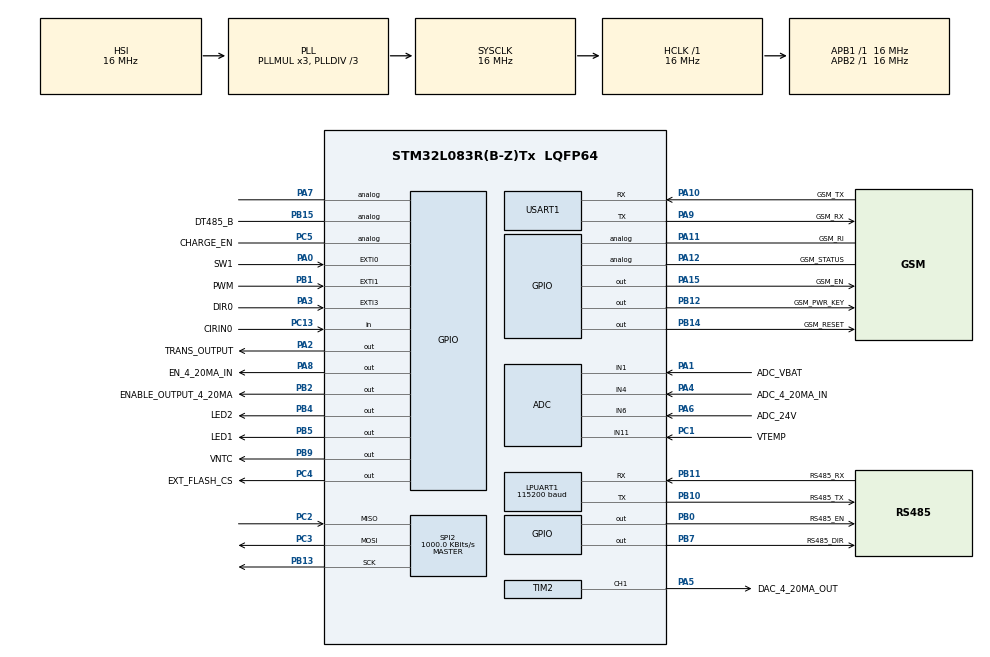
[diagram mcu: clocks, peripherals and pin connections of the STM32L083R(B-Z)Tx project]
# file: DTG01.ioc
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ADC.ClockPrescaler=ADC_CLOCK_ASYNC_DIV10
ADC.EOCSelection=ADC_EOC_SINGLE_CONV
ADC.LowPowerAutoPowerOff=DISABLE
ADC.LowPowerFrequencyMode=ENABLE
ADC.SamplingTime=ADC_SAMPLETIME_160CYCLES_5
Dma.Request0=USART1_RX
Dma.Request1=USART1_TX
Dma.USART1_RX.0.Direction=DMA_PERIPH_TO_MEMORY
Dma.USART1_RX.0.Instance=DMA1_Channel3
Dma.USART1_RX.0.MemDataAlignment=DMA_MDATAALIGN_BYTE
Dma.USART1_RX.0.MemInc=DMA_MINC_ENABLE
Dma.USART1_RX.0.Mode=DMA_CIRCULAR
Dma.USART1_RX.0.PeriphDataAlignment=DMA_PDATAALIGN_BYTE
Dma.USART1_RX.0.PeriphInc=DMA_PINC_DISABLE
Dma.USART1_RX.0.Priority=DMA_PRIORITY_HIGH
Dma.USART1_TX.1.Direction=DMA_MEMORY_TO_PERIPH
Dma.USART1_TX.1.Instance=DMA1_Channel2
Dma.USART1_TX.1.MemDataAlignment=DMA_MDATAALIGN_BYTE
Dma.USART1_TX.1.MemInc=DMA_MINC_ENABLE
Dma.USART1_TX.1.Mode=DMA_NORMAL
Dma.USART1_TX.1.PeriphDataAlignment=DMA_PDATAALIGN_BYTE
Dma.USART1_TX.1.PeriphInc=DMA_PINC_DISABLE
Dma.USART1_TX.1.Priority=DMA_PRIORITY_HIGH
IWDG.Prescaler=IWDG_PRESCALER_256
LPUART1.BaudRate=115200
LPUART1.WordLength=UART_WORDLENGTH_8B
Mcu.Family=STM32L0
Mcu.Name=STM32L083R(B-Z)Tx
Mcu.Package=LQFP64
NVIC.AES_RNG_LPUART1_IRQn=true\:0\:0\:false\:false\:true\:true\:true
NVIC.DMA1_Channel2_3_IRQn=true\:0\:0\:false\:false\:true\:false\:true
NVIC.EXTI0_1_IRQn=true\:0\:0\:false\:false\:true\:true\:true
NVIC.EXTI2_3_IRQn=true\:0\:0\:false\:false\:true\:true\:true
NVIC.RTC_IRQn=true\:0\:0\:false\:false\:true\:true\:true
NVIC.SPI2_IRQn=true\:0\:0\:false\:false\:true\:true\:true
NVIC.USART1_IRQn=true\:0\:0\:false\:false\:true\:true\:true
PA0.GPIO_Label=SW1
PA0.Signal=GPXTI0
PA1.GPIO_Label=ADC_VBAT
PA1.Mode=IN1
PA1.Signal=ADC_IN1
PA10.GPIO_Label=GSM_TX
PA10.Mode=Asynchronous
PA10.Signal=USART1_RX
PA11.GPIO_Label=GSM_RI
PA11.Signal=GPIO_Analog
PA12.GPIO_Label=GSM_STATUS
PA12.Signal=GPIO_Analog
PA13.Mode=Serial_Wire
PA13.Signal=SYS_SWDIO
PA14.Mode=Serial_Wire
PA14.Signal=SYS_SWCLK
PA15.GPIO_Label=GSM_EN
PA15.Signal=GPIO_Output
PA2.GPIO_Label=TRANS_OUTPUT
PA2.Signal=GPIO_Output
PA3.GPIO_Label=DIR0
PA3.GPIO_ModeDefaultEXTI=GPIO_MODE_IT_FALLING
PA3.GPIO_PuPd=GPIO_NOPULL
PA3.Signal=GPXTI3
PA4.GPIO_Label=ADC_4_20MA_IN
PA4.Signal=SharedAnalog_PA4
PA5.GPIO_Label=DAC_4_20MA_OUT
PA5.Signal=S_TIM2_CH1
PA6.GPIO_Label=ADC_24V
PA6.Signal=SharedAnalog_PA6
PA7.Signal=GPIO_Analog
PA8.GPIO_Label=EN_4_20MA_IN
PA8.PinState=GPIO_PIN_SET
PA8.Signal=GPIO_Output
PA9.GPIO_Label=GSM_RX
PA9.Mode=Asynchronous
PA9.Signal=USART1_TX
PB0.GPIO_Label=RS485_EN
PB0.Signal=GPIO_Output
PB1.GPIO_Label=PWM
PB1.GPIO_ModeDefaultEXTI=GPIO_MODE_IT_FALLING
PB1.Signal=GPXTI1
PB10.GPIO_Label=RS485_TX
PB10.Mode=Asynchronous
PB10.Signal=LPUART1_TX
PB11.GPIO_Label=RS485_RX
PB11.Mode=Asynchronous
PB11.Signal=LPUART1_RX
PB12.GPIO_Label=GSM_PWR_KEY
PB12.Signal=GPIO_Output
PB13.Mode=Full_Duplex_Master
PB13.Signal=SPI2_SCK
PB14.GPIO_Label=GSM_RESET
PB14.Signal=GPIO_Output
PB15.GPIO_Label=DT485_B
PB15.Signal=GPIO_Analog
PB2.GPIO_Label=ENABLE_OUTPUT_4_20MA
PB2.Signal=GPIO_Output
PB4.GPIO_Label=LED2
PB4.Signal=GPIO_Output
PB5.GPIO_Label=LED1
PB5.Signal=GPIO_Output
PB7.GPIO_Label=RS485_DIR
PB7.Signal=GPIO_Output
PB9.GPIO_Label=VNTC
PB9.GPIO_PuPd=GPIO_PULLDOWN
PB9.Signal=GPIO_Output
PC1.GPIO_Label=VTEMP
PC1.Mode=IN11
PC1.Signal=ADC_IN11
PC13.GPIO_Label=CIRIN0
PC13.Signal=GPIO_Input
PC14-OSC32_IN.Mode=LSE-External-Oscillator
PC14-OSC32_IN.Signal=RCC_OSC32_IN
PC15-OSC32_OUT.Mode=LSE-External-Oscillator
PC15-OSC32_OUT.Signal=RCC_OSC32_OUT
PC2.Mode=Full_Duplex_Master
PC2.Signal=SPI2_MISO
PC3.Mode=Full_Duplex_Master
PC3.Signal=SPI2_MOSI
PC4.GPIO_Label=EXT_FLASH_CS
PC4.GPIO_PuPd=GPIO_NOPULL
PC4.GPIO_Speed=GPIO_SPEED_FREQ_VERY_HIGH
PC4.PinState=GPIO_PIN_SET
PC4.Signal=GPIO_Output
PC5.GPIO_Label=CHARGE_EN
PC5.Signal=GPIO_Analog
ProjectManager.HeapSize=0x200
ProjectManager.StackSize=0x400
ProjectManager.TargetToolchain=MDK-ARM V5.27
RCC.AHBFreq_Value=16000000
RCC.APB1Freq_Value=16000000
RCC.APB1TimFreq_Value=16000000
RCC.APB2Freq_Value=16000000
RCC.APB2TimFreq_Value=16000000
RCC.HCLKFreq_Value=16000000
RCC.HSE_VALUE=8000000
RCC.HSI16_VALUE=16000000
RCC.HSI48_VALUE=48000000
RCC.HSI_VALUE=16000000
RCC.LSE_Drive_Capability=RCC_LSEDRIVE_MEDIUMLOW
RCC.MSIClockRange=RCC_MSIRANGE_6
RCC.MSI_VALUE=4194000
RCC.PLLDIV=RCC_PLLDIV_3
RCC.RTCClockSelectionVirtual=RCC_RTCCLKSOURCE_LSE
RCC.SYSCLKFreq_VALUE=16000000
RCC.SYSCLKSource=RCC_SYSCLKSOURCE_PLLCLK
RCC.VCOOutputFreq_Value=48000000
RTC.SynchPrediv=255
RTC.WakeUpClock-WakeUp=RTC_WAKEUPCLOCK_RTCCLK_DIV16
RTC.WakeUpCounter-WakeUp=18
SH.S_TIM2_CH1.0=TIM2_CH1,PWM Generation1 CH1
SH.SharedAnalog_PA4.0=GPIO_Analog
SH.SharedAnalog_PA4.1=ADC_IN4,IN4
SH.SharedAnalog_PA6.0=GPIO_Analog
SH.SharedAnalog_PA6.1=ADC_IN6,IN6
SPI2.BaudRatePrescaler=SPI_BAUDRATEPRESCALER_16
SPI2.CalculateBaudRate=1000.0 KBits/s
SPI2.Direction=SPI_DIRECTION_2LINES
SPI2.Mode=SPI_MODE_MASTER
SPI2.VirtualType=VM_MASTER
TIM2.AutoReloadPreload=TIM_AUTORELOAD_PRELOAD_ENABLE
TIM2.Channel-PWM\ Generation1\ CH1=TIM_CHANNEL_1
TIM2.ClockDivision=TIM_CLOCKDIVISION_DIV1
TIM2.Period=4095
TIM2.Prescaler=1
TIM2.Pulse-PWM\ Generation1\ CH1=0
USART1.VirtualMode-Asynchronous=VM_ASYNC
VP_ADC_TempSens_Input.Mode=IN-TempSens
VP_ADC_Vref_Input.Mode=IN-Vrefint
VP_CRC_VS_CRC.Mode=CRC_Activate
VP_IWDG_VS_IWDG.Mode=IWDG_Activate
VP_RTC_VS_RTC_Activate.Mode=RTC_Enabled
VP_RTC_VS_RTC_Calendar.Mode=RTC_Calendar
VP_RTC_VS_RTC_WakeUp_intern.Mode=WakeUp
VP_TIM2_VS_ClockSourceINT.Mode=Internal
board=custom

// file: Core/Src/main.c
/* USER CODE BEGIN Header */
/**
  ******************************************************************************
  * @file           : main.c
  * @brief          : Main program body
  ******************************************************************************
  * @attention
  *
  * <h2><center>&copy; Copyright (c) 2021 STMicroelectronics.
  * All rights reserved.</center></h2>
  *
  * This software component is licensed by ST under BSD 3-Clause license,
  * the "License"; You may not use this file except in compliance with the
  * License. You may obtain a copy of the License at:
  *                        opensource.org/licenses/BSD-3-Clause
  *
  ******************************************************************************
  */
/* USER CODE END Header */
#include "main.h"
#include "adc.h"
#include "crc.h"
#include "dma.h"
#include "iwdg.h"
#include "usart.h"
#include "rtc.h"
#include "spi.h"
#include "tim.h"
#include "gpio.h"

/* USER CODE BEGIN Includes */
#include "app_eeprom.h"
#include "measure_input.h"
#include "lpf.h"
#include "stdbool.h"
#include "app_cli.h"
#include "app_wdt.h"
#include "app_sync.h"
#include "hardware_manager.h"
#include "app_bkup.h"
#include "control_output.h"
#include "gsm.h"
#include "hardware.h"
#include "modbus_master.h"
#include "string.h"
#include "sys_ctx.h"
#include "app_rtc.h"
#include "app_debug.h"
#include "app_spi_flash.h"
#include "ota_update.h"
#include "flash_if.h"
#include "version_control.h"
#include "jig.h"
#include "umm_malloc.h"

/* USER CODE END Includes */

/* USER CODE BEGIN PTD */
#define WAKEUP_RESET_WDT_IN_LOW_POWER_MODE            37000     // ( ~18s)
#define DEBUG_LOW_POWER                                 0
#define DISABLE_GPIO_ENTER_LOW_POWER_MODE               0
#define TEST_POWER_ALWAYS_TURN_OFF_GSM                  0
#define TEST_OUTPUT_4_20MA                              0
#define TEST_INPUT_4_20_MA                              0
#define TEST_RS485                                      0
#define TEST_BACKUP_REGISTER                            0
#define CLI_ENABLE                                      1
/* USER CODE END PTD */

/* USER CODE BEGIN PD */
#define GSM_ENABLE					1
/* USER CODE END PD */

void SystemClock_Config(void);

/* USER CODE BEGIN 0 */
/* memory for ummalloc */
//uint8_t g_umm_heap[UMM_MALLOC_CFG_HEAP_SIZE];
static volatile uint32_t m_delay_afer_wakeup_from_deep_sleep_to_measure_data;
static void info_task(void *arg);
volatile uint32_t led_blink_delay = 0;
void sys_config_low_power_mode(void);
volatile uint32_t m_delay_consider_wakeup = 0;
extern volatile uint32_t measure_input_turn_on_in_4_20ma_power;
/* USER CODE END 0 */

int main(void)
{
  /* USER CODE BEGIN 1 */

	hardware_manager_get_reset_reason();
  /* USER CODE END 1 */

  /* MCU Configuration--------------------------------------------------------*/

  /* Reset of all peripherals, Initializes the Flash interface and the Systick. */
  HAL_Init();

  /* Configure the system clock */
  SystemClock_Config();

  /* USER CODE BEGIN SysInit */
    __enable_irq();
#if 1
    app_eeprom_init();
	MX_CRC_Init();
	app_eeprom_config_data_t *eeprom_cfg = app_eeprom_read_config_data();
    sys_ctx_t *system = sys_ctx();
#if TEST_OUTPUT_4_20MA
	eeprom_cfg->io_enable.name.output_4_20ma_enable = 1;
    system->status.is_enter_test_mode = 1;
#endif

  /* USER CODE END SysInit */

  /* Initialize all configured peripherals */
  MX_GPIO_Init();
  MX_DMA_Init();
  MX_IWDG_Init();
  MX_RTC_Init();
  MX_ADC_Init();
  MX_USART1_UART_Init();
  MX_LPUART1_UART_Init();
  MX_SPI2_Init();
  MX_TIM2_Init();
  /* USER CODE BEGIN 2 */
#endif
//	HAL_ADC
//    __HAL_DBGMCU_FREEZE_IWDG();     // stop watchdog in debug mode
    ENABLE_INPUT_4_20MA_POWER(0);
    RS485_POWER_EN(0);
    for (uint32_t i = 0; i < 4; i++)
    {
        LED1(1);
        sys_delay_ms(20);
        LED1(0);
        sys_delay_ms(20);
    }
    LED1(0);

    system->peripheral_running.name.flash_running = 1;
    system->peripheral_running.name.rs485_running = 1;

#if CLI_ENABLE
	app_cli_start();
#endif

    app_bkup_init();
    app_eeprom_init();
    app_spi_flash_initialize();
	measure_input_initialize();
	control_ouput_init();
//	adc_start();
	gsm_init_hw();

#if USE_SYNC_DRV
	app_sync_config_t config;
	config.get_ms = sys_get_ms;
	config.polling_interval_ms = 1;
	app_sync_sytem_init(&config);

	app_sync_register_callback(task_feed_wdt, 15000, SYNC_DRV_REPEATED, SYNC_DRV_SCOPE_IN_LOOP);
	app_sync_register_callback(gsm_mnr_task, 1000, SYNC_DRV_REPEATED, SYNC_DRV_SCOPE_IN_LOOP);
	app_sync_register_callback(info_task, 1000, SYNC_DRV_REPEATED, SYNC_DRV_SCOPE_IN_LOOP);
#endif
	app_eeprom_config_data_t *cfg = app_eeprom_read_config_data();

    ota_flash_cfg_t *ota_cfg = ota_update_get_config();
#if TEST_OUTPUT_4_20MA
	cfg->io_enable.name.output_4_20ma_enable = 1;
	cfg->io_enable.name.output_4_20ma_value = 10;
	cfg->io_enable.name.output_4_20ma_timeout_100ms = 100;
	control_output_dac_enable(1000000);
    system->status.is_enter_test_mode = 1;
#endif

#if TEST_INPUT_4_20_MA
    cfg->io_enable.name.input_4_20ma_enable = 1;
    system->status.is_enter_test_mode = 1;
#endif
//	char *info = umm_malloc(128);
//	char *p = info;
//	rtc_date_time_t time;
//	app_rtc_get_time(&time);
//
//	p += sprintf(p, "[%04u/%02u/%02u %02u:%02u] ",
//					time.year + 2000,
//					time.month,
//					time.day,
//					time.hour,
//					time.minute);
//
//    DEBUG_INFO("Build %s %s, version %s\r\n", __DATE__, __TIME__, VERSION_CONTROL_FW);
//	DEBUG_INFO("Now is %s\r\n", info);
//	umm_free(info);

	jig_start();

    static uint32_t button_factory_timeout = 0;
    bool do_factory_reset = false;
  /* USER CODE END 2 */

  /* Infinite loop */
  /* USER CODE BEGIN WHILE */
  while (1)
  {
#if GSM_ENABLE
	gsm_hw_layer_run();
#endif

#if TEST_POWER_ALWAYS_TURN_OFF_GSM
    if (!gsm_data_layer_is_module_sleeping())
    {
        gsm_change_state(GSM_STATE_SLEEP);
    }
#endif
	control_ouput_task();
	measure_input_task();
	app_cli_poll();

#if USE_SYNC_DRV
	app_sync_polling_task();
#else
      static volatile uint32_t m_last_tick = 0;
      if (sys_get_ms() - m_last_tick >= (uint32_t)1000)
      {
          m_last_tick = sys_get_ms();
          gsm_mnr_task(NULL);
          info_task(NULL);
      }
#endif

	if (led_blink_delay)
	{
		LED1(1);
		LED2(1);
	}
	else
	{
		LED1(0);
		LED2(0);
	}

	if (system->status.is_enter_test_mode)
	{
		cfg->io_enable.name.output_4_20ma_enable = 1;
		eeprom_cfg->io_enable.name.output_4_20ma_enable = 1;
		if (eeprom_cfg->output_4_20ma < 1.0f)
			eeprom_cfg->output_4_20ma = 10;
		cfg->io_enable.name.output_4_20ma_timeout_100ms = 100;
		control_output_dac_enable(1000000);
		cfg->io_enable.name.rs485_en = 1;
		ENABLE_INPUT_4_20MA_POWER(1);
        RS485_POWER_EN(1);
        usart_lpusart_485_control(1);
	}

    if (!cfg->io_enable.name.rs485_en
		&& system->status.is_enter_test_mode == 0
		&& system->status.timeout_wait_message_sync_data == 0)
    {
        system->peripheral_running.name.rs485_running = 0;
        usart_lpusart_485_control(0);
    }

    if (!cfg->io_enable.name.input_4_20ma_0_enable)
    {
        ENABLE_INPUT_4_20MA_POWER(0);
        system->peripheral_running.name.wait_for_input_4_20ma_power_on = 0;
        measure_input_turn_on_in_4_20ma_power = 0;
    }

    if (gsm_data_layer_is_module_sleeping())
    {
		system->status.disconnect_timeout_s = 0;
        system->peripheral_running.name.gsm_running = 0;
        if (system->peripheral_running.name.flash_running)
        {
            app_spi_flash_shutdown();
            spi_deinit();
            system->peripheral_running.name.flash_running = 0;
        }

        usart1_control(false);
        GSM_PWR_EN(0);
        GSM_PWR_RESET(0);
        GSM_PWR_KEY(0);
    }
    else
    {
        system->peripheral_running.name.gsm_running = 1;
    }

    if (ota_update_is_running())
    {
        system->status.disconnect_timeout_s = 0;
    }

    if (system->peripheral_running.value == 0)
    {
        adc_stop();
        if (system->status.is_enter_test_mode == 0
            && m_delay_consider_wakeup == 0
            && (LL_GPIO_IsInputPinSet(ADC_24V_GPIO_Port, ADC_24V_Pin) == 0)
			&& system->status.timeout_wait_message_sync_data == 0)
        {
			jig_release_memory();
			RS485_POWER_EN(0);
			ENABLE_INPUT_4_20MA_POWER(0);
			system->peripheral_running.name.wait_for_input_4_20ma_power_on = 0;
			measure_input_turn_on_in_4_20ma_power = 0;
            sys_config_low_power_mode();
        }
    }

	if (system->status.timeout_wait_message_sync_data)
	{
        if (LL_GPIO_IsInputPinSet(SW1_GPIO_Port, SW1_Pin) == 0)
        {
            uint32_t now = sys_get_ms();
            static uint32_t m_last_blink = 0;
            if (button_factory_timeout == 0)
            {
                button_factory_timeout = now;
            }
            if (now - button_factory_timeout >= (uint32_t)7000) // button hold for 5s =>> factory reset
            {
                DEBUG_INFO("Factory reset server\r\n");
                if (strcmp(DEFAULT_SERVER_ADDR, (char*)app_eeprom_read_factory_data()->server))
                {
                    app_eeprom_factory_data_t *pre_data = app_eeprom_read_factory_data();
                    app_eeprom_factory_data_t new_data;

                    memcpy(&new_data, pre_data, sizeof(app_eeprom_factory_data_t));
                    memset(new_data.server, 0, APP_EEPROM_MAX_SERVER_ADDR_LENGTH);
                    memcpy(new_data.server, DEFAULT_SERVER_ADDR, strlen(DEFAULT_SERVER_ADDR));
                    app_eeprom_save_factory_data(&new_data);

                    memset(eeprom_cfg->server_addr[APP_EEPROM_MAIN_SERVER_ADDR_INDEX], 0, APP_EEPROM_MAX_SERVER_ADDR_LENGTH);
                    memset(eeprom_cfg->server_addr[APP_EEPROM_ALTERNATIVE_SERVER_ADDR_INDEX], 0, APP_EEPROM_MAX_SERVER_ADDR_LENGTH);

                    memcpy((char*)eeprom_cfg->server_addr[APP_EEPROM_MAIN_SERVER_ADDR_INDEX], DEFAULT_SERVER_ADDR, strlen(DEFAULT_SERVER_ADDR));
                    app_eeprom_save_config();		// Store current config into eeprom
                }
                usart_lpusart_485_send((uint8_t*)"Factory reset server ", strlen("Factory reset server "));
                usart_lpusart_485_send((uint8_t*)DEFAULT_SERVER_ADDR, strlen(DEFAULT_SERVER_ADDR));
                button_factory_timeout = now;
                do_factory_reset = true;
            }

            if (now - m_last_blink >= (uint32_t)100)
            {
                m_last_blink = now;
                if (do_factory_reset)
                {
                    LL_GPIO_TogglePin(LED1_GPIO_Port, LED1_Pin);
                }
            }
        }
        else
        {
            button_factory_timeout = 0;
            do_factory_reset = false;
        }
		RS485_POWER_EN(1);
		usart_lpusart_485_control(1);
        char *server;
        uint32_t server_len;
		if (jig_found_cmd_sync_data_to_host())
		{
			// Step 1 : Wakeup spi
			if (!system->peripheral_running.name.flash_running)
			{
				spi_init();
				app_spi_flash_wakeup();
				system->peripheral_running.name.flash_running = 1;
			}

			app_spi_flash_dump_to_485();

			// Step 2 : Shutdown spi
			app_spi_flash_shutdown();
            spi_deinit();
            system->peripheral_running.name.flash_running = 0;
		}
        else if (jig_found_cmd_change_server(&server, &server_len))
        {
            server[server_len] = 0;
            usart_lpusart_485_send((uint8_t*)"Set new server ", strlen("Set new server "));
            usart_lpusart_485_send((uint8_t*)server, strlen(server));
            memset(eeprom_cfg->server_addr[APP_EEPROM_MAIN_SERVER_ADDR_INDEX], 0, APP_EEPROM_MAX_SERVER_ADDR_LENGTH);
            memset(eeprom_cfg->server_addr[APP_EEPROM_ALTERNATIVE_SERVER_ADDR_INDEX], 0, APP_EEPROM_MAX_SERVER_ADDR_LENGTH);
            memcpy((char*)eeprom_cfg->server_addr[APP_EEPROM_ALTERNATIVE_SERVER_ADDR_INDEX], server, server_len);
            app_eeprom_save_config();		// Store current config into eeprom
            jig_release_memory();

        }
        else if (jig_found_cmd_set_default_server_server(&server, &server_len))
        {
            server[server_len] = 0;
            usart_lpusart_485_send((uint8_t*)"Set default server ", strlen("Set default server "));
            usart_lpusart_485_send((uint8_t*)server, strlen(server));
            app_eeprom_factory_data_t *pre_data = app_eeprom_read_factory_data();
            app_eeprom_factory_data_t new_data;

            memcpy(&new_data, pre_data, sizeof(app_eeprom_factory_data_t));
            memset(new_data.server, 0, APP_EEPROM_MAX_SERVER_ADDR_LENGTH);
            memcpy(new_data.server, server, server_len);
            app_eeprom_save_factory_data(&new_data);

            jig_release_memory();
        }
        else if (jig_found_cmd_get_config())
        {
            char config[128];     // TODO check malloc result
            uint32_t len = 0;

            app_eeprom_config_data_t *eeprom_cfg = app_eeprom_read_config_data();
            len += snprintf((char *)(config + len), APP_EEPROM_MAX_SERVER_ADDR_LENGTH, "{\"Server0\":\"%s\",", eeprom_cfg->server_addr[0]);

            usart_lpusart_485_send((uint8_t*)config, len);
            len = 0;

            len += snprintf((char *)(config + len), APP_EEPROM_MAX_SERVER_ADDR_LENGTH, "\"Server1\":\"%s\",", eeprom_cfg->server_addr[1]);

            usart_lpusart_485_send((uint8_t*)config, len);
            len = 0;

            len += sprintf((char *)(config + len), "\"CycleSendWeb\":%u,", eeprom_cfg->send_to_server_interval_ms/1000/60);

            usart_lpusart_485_send((uint8_t*)config, len);
            len = 0;

            len += sprintf((char *)(config + len), "\"DelaySendToServer\":%u,", eeprom_cfg->send_to_server_delay_s);

            usart_lpusart_485_send((uint8_t*)config, len);
            len = 0;

            len += sprintf((char *)(config + len), "\"Cyclewakeup\":%u,", eeprom_cfg->measure_interval_ms/1000/60);

            usart_lpusart_485_send((uint8_t*)config, len);
            len = 0;

            len += sprintf((char *)(config + len), "\"MaxSmsOneday\":%u,", eeprom_cfg->max_sms_1_day);

            usart_lpusart_485_send((uint8_t*)config, len);
            len = 0;

            len += sprintf((char *)(config + len), "\"Phone\":\"%s\",", eeprom_cfg->phone);
            len += sprintf((char *)(config + len), "\"PollConfig\":%u,", eeprom_cfg->poll_config_interval_hour);
            len += sprintf((char *)(config + len), "\"DirLevel\":%u,", eeprom_cfg->dir_level);

            usart_lpusart_485_send((uint8_t*)config, len);
            len = 0;

            for (uint32_t i = 0; i < APP_EEPROM_METER_MODE_MAX_ELEMENT; i++)
            {
                len += sprintf((char *)(config + len), "\"K%u\":%u,", i+1, eeprom_cfg->k[i]);
                len += sprintf((char *)(config + len), "\"M%u\":%u,", i+1, eeprom_cfg->meter_mode[i]);
                len += sprintf((char *)(config + len), "\"MeterIndicator%u\":%u,", i+1, eeprom_cfg->offset[i]);
                usart_lpusart_485_send((uint8_t*)config, len);
                len = 0;
            }

            len += sprintf((char *)(config + len), "\"OutputIO_0\":%u,", eeprom_cfg->io_enable.name.output0);
            len += sprintf((char *)(config + len), "\"OutputIO_1\":%u,", eeprom_cfg->io_enable.name.output1);
            len += sprintf((char *)(config + len), "\"OutputIO_2\":%u,", eeprom_cfg->io_enable.name.output2);
            len += sprintf((char *)(config + len), "\"OutputIO_3\":%u,", eeprom_cfg->io_enable.name.output3);
            usart_lpusart_485_send((uint8_t*)config, len);
            len = 0;

            len += sprintf((char *)(config + len), "\"Input0\":%u,", eeprom_cfg->io_enable.name.input0);
            len += sprintf((char *)(config + len), "\"Input1\":%u,", eeprom_cfg->io_enable.name.input1);
            len += sprintf((char *)(config + len), "\"Input2\":%u,", eeprom_cfg->io_enable.name.input2);
            len += sprintf((char *)(config + len), "\"Input3\":%u,", eeprom_cfg->io_enable.name.input3);

            usart_lpusart_485_send((uint8_t*)config, len);
            len = 0;

        //    len += sprintf((char *)(config + len), "\"SOS\":%u,", eeprom_cfg->io_enable.name.sos);
            len += sprintf((char *)(config + len), "\"Warning\":%u,", eeprom_cfg->io_enable.name.warning);
            len += sprintf((char *)(config + len), "\"485_EN\":%u,", eeprom_cfg->io_enable.name.rs485_en);

            usart_lpusart_485_send((uint8_t*)config, len);
            len = 0;
            if (eeprom_cfg->io_enable.name.rs485_en)
            {
                for (uint32_t slave_idx = 0; slave_idx < RS485_MAX_SLAVE_ON_BUS; slave_idx++)
                {
                    for (uint32_t sub_register_index = 0; sub_register_index < RS485_MAX_SUB_REGISTER; sub_register_index++)
                    {
                        if (eeprom_cfg->rs485[slave_idx].sub_register[sub_register_index].data_type.name.valid == 0)
                        {
                            uint32_t slave_addr = eeprom_cfg->rs485[slave_idx].sub_register[sub_register_index].read_ok = 0;
                            continue;
                        }
                        len += sprintf((char *)(config + len), "\"485_%u_Slave\":%u,", slave_idx, eeprom_cfg->rs485[slave_idx].slave_addr);
                        len += sprintf((char *)(config + len), "\"485_%u_Reg\":%u,", slave_idx, eeprom_cfg->rs485[slave_idx].sub_register[sub_register_index].register_addr);
                        len += snprintf((char *)(config + len), 6, "\"485_%u_Unit\":\"%s\",", slave_idx, (char*)eeprom_cfg->rs485[slave_idx].sub_register[sub_register_index].unit);
                        usart_lpusart_485_send((uint8_t*)config, len);
                        len = 0;
                    }
                }
            }

            len += sprintf((char *)(config + len), "\"input4_20mA_0\":%u,", eeprom_cfg->io_enable.name.input_4_20ma_0_enable);
        #ifndef DTG01
            len += sprintf((char *)(config + len), "\"input4_20mA_1\":%u,", eeprom_cfg->io_enable.name.input_4_20ma_1_enable);
            len += sprintf((char *)(config + len), "\"input4_20mA_2\":%u,", eeprom_cfg->io_enable.name.input_4_20ma_2_enable);
            len += sprintf((char *)(config + len), "\"input4_20mA_3\":%u,", eeprom_cfg->io_enable.name.input_4_20ma_3_enable);
        #endif
            len += sprintf((char *)(config + len), "\"Output4_20mA_En\":%u,", eeprom_cfg->io_enable.name.output_4_20ma_enable);
            if (eeprom_cfg->io_enable.name.output_4_20ma_enable)
            {
                len += sprintf((char *)(config + len), "\"Output4_20mA_Val\":%.3f,", eeprom_cfg->output_4_20ma);
                usart_lpusart_485_send((uint8_t*)config, len);
                len = 0;
            }

            len += sprintf((char *)(config + len), "\"FW\":\"%s\",", VERSION_CONTROL_FW);
            len += sprintf((char *)(config + len), "\"HW\":\"%s\",", VERSION_CONTROL_HW);
            usart_lpusart_485_send((uint8_t*)config, len);
            len = 0;

            len += sprintf((char *)(config + len), "\"FactoryServer\":\"%s\",", app_eeprom_read_factory_data()->server);

            len--;      // Skip ','
            len += sprintf((char *)(config + len), "%s", "}");
            usart_lpusart_485_send((uint8_t*)config, len);
            len  = 0;

//            umm_free(config);

            jig_release_memory();
        }
	}
	else
	{
		usart_lpusart_485_control(0);
        button_factory_timeout = 0;
        do_factory_reset = false;
	}

#ifdef WDT_ENABLE
    LL_IWDG_ReloadCounter(IWDG);
#endif
    /* USER CODE END WHILE */

  }
}

void SystemClock_Config(void)
{
  RCC_OscInitTypeDef RCC_OscInitStruct = {0};
  RCC_ClkInitTypeDef RCC_ClkInitStruct = {0};
  RCC_PeriphCLKInitTypeDef PeriphClkInit = {0};

  /** Configure the main internal regulator output voltage
  */
  __HAL_PWR_VOLTAGESCALING_CONFIG(PWR_REGULATOR_VOLTAGE_SCALE1);
  /** Configure LSE Drive Capability
  */
  HAL_PWR_EnableBkUpAccess();
  __HAL_RCC_LSEDRIVE_CONFIG(RCC_LSEDRIVE_MEDIUMLOW);
  /** Initializes the RCC Oscillators according to the specified parameters
  * in the RCC_OscInitTypeDef structure.
  */
  RCC_OscInitStruct.OscillatorType = RCC_OSCILLATORTYPE_HSI|RCC_OSCILLATORTYPE_LSI
                              |RCC_OSCILLATORTYPE_LSE;
  RCC_OscInitStruct.LSEState = RCC_LSE_ON;
  RCC_OscInitStruct.HSIState = RCC_HSI_ON;
  RCC_OscInitStruct.HSICalibrationValue = RCC_HSICALIBRATION_DEFAULT;
  RCC_OscInitStruct.LSIState = RCC_LSI_ON;
  RCC_OscInitStruct.PLL.PLLState = RCC_PLL_ON;
  RCC_OscInitStruct.PLL.PLLSource = RCC_PLLSOURCE_HSI;
  RCC_OscInitStruct.PLL.PLLMUL = RCC_PLLMUL_3;
  RCC_OscInitStruct.PLL.PLLDIV = RCC_PLLDIV_3;
  if (HAL_RCC_OscConfig(&RCC_OscInitStruct) != HAL_OK)
  {
    Error_Handler();
  }
  /** Initializes the CPU, AHB and APB buses clocks
  */
  RCC_ClkInitStruct.ClockType = RCC_CLOCKTYPE_HCLK|RCC_CLOCKTYPE_SYSCLK
                              |RCC_CLOCKTYPE_PCLK1|RCC_CLOCKTYPE_PCLK2;
  RCC_ClkInitStruct.SYSCLKSource = RCC_SYSCLKSOURCE_PLLCLK;
  RCC_ClkInitStruct.AHBCLKDivider = RCC_SYSCLK_DIV1;
  RCC_ClkInitStruct.APB1CLKDivider = RCC_HCLK_DIV1;
  RCC_ClkInitStruct.APB2CLKDivider = RCC_HCLK_DIV1;

  if (HAL_RCC_ClockConfig(&RCC_ClkInitStruct, FLASH_LATENCY_0) != HAL_OK)
  {
    Error_Handler();
  }
  PeriphClkInit.PeriphClockSelection = RCC_PERIPHCLK_USART1|RCC_PERIPHCLK_LPUART1
                              |RCC_PERIPHCLK_RTC;
  PeriphClkInit.Usart1ClockSelection = RCC_USART1CLKSOURCE_PCLK2;
  PeriphClkInit.Lpuart1ClockSelection = RCC_LPUART1CLKSOURCE_PCLK1;
  PeriphClkInit.RTCClockSelection = RCC_RTCCLKSOURCE_LSE;
  if (HAL_RCCEx_PeriphCLKConfig(&PeriphClkInit) != HAL_OK)
  {
    Error_Handler();
  }
}

/* USER CODE BEGIN 4 */

uint32_t sys_get_ms()
{
	return uwTick;
}

void sys_delay_ms(uint32_t ms)
{
	uint32_t current_tick = HAL_GetTick();

	while (1)
	{
#ifdef WDT_ENABLE
        LL_IWDG_ReloadCounter(IWDG);
#endif
//		__WFI();
		if (HAL_GetTick() - current_tick >= (uint32_t)ms)
		{
			break;
		}
	}
}

static void info_task(void *arg)
{
	static uint32_t i = 0;
    sys_ctx_t *system = sys_ctx();

	if (system->status.is_enter_test_mode)
	{
#if TEST_RS485
		usart_lpusart_485_control(1);
		sys_delay_ms(100);
		uint8_t result;
		uint16_t input_result[8];

		modbus_master_reset(1000);
		uint32_t before = sys_get_ms();
		 // read input registers function test
		 // slave address 0x01, two consecutive addresses are register 0x2
		result = modbus_master_read_input_register(8, 106, 8);
		if (result == 0x00)
		{
			DEBUG_INFO("Modbus read success in %ums\r\n", sys_get_ms() - before);

			for (uint32_t i = 0; i < 8; i++)
			{
				input_result[i] = modbus_master_get_response_buffer(i);
				DEBUG_RAW("(30%u-%u),", 106 + i, input_result[i]);
			}
			DEBUG_RAW("\r\n");
		}
		else
		{
			DEBUG_ERROR("Modbus failed\r\n");
		}
		usart_lpusart_485_control(0);
#endif
        i = 5;
	}
    if (i++ > 4)
	{
		i = 0;
		adc_input_value_t *adc = adc_get_input_result();
        rtc_date_time_t time;
        app_rtc_get_time(&time);
        char tmp[48];
        char *p = tmp;
        for (uint32_t i = 0; i < 4; i++)
        {
            p += sprintf(p, "(%.2f),", adc->in_4_20ma_in[i]);
        }
#ifdef DTG02
        for (uint32_t i = 0; i < 4; i++)
        {
            p += sprintf(p, "IN%u-%u,", i+1, measure_input_current_data()->input_on_off[i]);
        }
#endif
		if (gsm_data_layer_is_module_sleeping())
		{
			DEBUG_INFO("vdda %umv, bat_mv %u-%u, vin-24 %umV, 4-20mA %s temp %u\r\n",
						adc->vdda_mv,
						adc->bat_mv, adc->bat_percent,
						adc->vin,
						tmp,
						adc->temp);
		}
#if TEST_CRC32
		uint32_t crc;
		static const char *feed_str0 ="12345";
		static const char *feed_str1 ="12349876";
		crc = utilities_calculate_crc32((uint8_t*)feed_str0, strlen(feed_str0));
		DEBUG_INFO("CRC0 0x%08X\r\n", crc);
		crc = utilities_calculate_crc32((uint8_t*)feed_str1, strlen(feed_str1));
		DEBUG_INFO("CRC1 0x%08X\r\n", crc);
#endif
		static sys_ctx_error_critical_t m_last_critical_err;
		sys_ctx_t *ctx = sys_ctx();
		app_eeprom_config_data_t *eeprom_cfg = app_eeprom_read_config_data();

		// If rs485 was not enable =>> clear rs485 error code
		if (!eeprom_cfg->io_enable.name.rs485_en)
		{
			ctx->error_not_critical.detail.rs485_err = 0;
		}
		if (m_last_critical_err.value != ctx->error_critical.value)
		{
			m_last_critical_err.value = ctx->error_critical.value;

			if (!eeprom_cfg->io_enable.name.warning
				&& (strlen((char*)eeprom_cfg->phone) > 8)
				&& m_last_critical_err.value
				&& (ctx->status.total_sms_in_24_hour < eeprom_cfg->max_sms_1_day))
			{
				char msg[156];
				char *p = msg;
				rtc_date_time_t time;
				app_rtc_get_time(&time);

				p += sprintf(p, "[%04u/%02u/%02u %02u:%02u] ",
								time.year + 2000,
								time.month,
								time.day,
								time.hour,
								time.minute);
				if (m_last_critical_err.detail.sensor_out_of_range)
				{
					p += sprintf(p, "%s", "He thong bi loi luu luong");
				}
				ctx->status.total_sms_in_24_hour++;
				gsm_send_sms((char*)eeprom_cfg->phone, msg);
			}
		}

		// Reset sms limit
		static uint32_t scan;
		if (scan++ > 10)
		{
			scan = 0;
			if (ctx->status.total_sms_in_24_hour)
			{
				uint32_t counter = app_rtc_get_counter();
				counter = counter % 86400;
				if (counter < 300)
				{
					ctx->status.total_sms_in_24_hour = 0;
				}
			}
		}
	}

}

void sys_turn_on_led(uint32_t delay_ms)
{
    led_blink_delay = delay_ms;
}

static bool m_wakeup_timer_run = false;
void sys_config_low_power_mode(void)
{
    // estimate RTC wakeup time
    if (m_wakeup_timer_run == false)
    {
        sys_ctx_t *ctx = sys_ctx();

#if DEBUG_LOW_POWER
        __DBGMCU_CLK_ENABLE() ; // (RCC->APB2ENR |= (RCC_APB2ENR_DBGMCUEN))
        HAL_EnableDBGStopMode();  //  SET_BIT(DBGMCU->CR, DBGMCU_CR_DBG_STOP);
#endif

#ifdef WDT_ENABLE
	LL_IWDG_ReloadCounter(IWDG);
#endif

        uint32_t counter_before_sleep = app_rtc_get_counter();
        uint32_t sleep_time = ((measure_input_get_next_time_wakeup()+1)*32768)/16;
        if (sleep_time > WAKEUP_RESET_WDT_IN_LOW_POWER_MODE)
        {
            sleep_time = WAKEUP_RESET_WDT_IN_LOW_POWER_MODE;
        }
//        DEBUG_VERBOSE("Before sleep - counter %u\r\n", counter_before_sleep);
        HAL_RTCEx_DeactivateWakeUpTimer(&hrtc);
        if (HAL_RTCEx_SetWakeUpTimer_IT(&hrtc, sleep_time, RTC_WAKEUPCLOCK_RTCCLK_DIV16) != HAL_OK)
        {
            Error_Handler();
        }
        __HAL_PWR_CLEAR_FLAG(PWR_FLAG_WU);

        sys_enable_power_plug_detect();

        /* Disable GPIOs clock */
        LL_IOP_GRP1_DisableClock(LL_IOP_GRP1_PERIPH_GPIOA);
        LL_IOP_GRP1_DisableClock(LL_IOP_GRP1_PERIPH_GPIOB);
        LL_IOP_GRP1_DisableClock(LL_IOP_GRP1_PERIPH_GPIOC);
        LL_IOP_GRP1_DisableClock(LL_IOP_GRP1_PERIPH_GPIOH);

        /* Disable SysTick Interrupt */
        SysTick->CTRL &= ~SysTick_CTRL_TICKINT_Msk;

//          GPIO_InitTypeDef GPIO_InitStructure;
        __HAL_RCC_PWR_CLK_ENABLE();

        /* Enable the Ultra Low Power mode */
        SET_BIT(PWR->CR, PWR_CR_ULP);

        /* Enable the fast wake up */
        SET_BIT(PWR->CR, PWR_CR_FWU);

        /* Select MSI as system clock source after Wake Up from Stop mode */
        __HAL_RCC_WAKEUPSTOP_CLK_CONFIG(RCC_STOP_WAKEUPCLOCK_MSI);

          /* Enter Stop Mode */
        HAL_PWR_EnterSTOPMode(PWR_LOWPOWERREGULATOR_ON, PWR_STOPENTRY_WFI);

        __HAL_PWR_CLEAR_FLAG(PWR_FLAG_WU);

#if 1
        /* Enable GPIOs clock */
        LL_IOP_GRP1_EnableClock(LL_IOP_GRP1_PERIPH_GPIOA);
        LL_IOP_GRP1_EnableClock(LL_IOP_GRP1_PERIPH_GPIOB);
        LL_IOP_GRP1_EnableClock(LL_IOP_GRP1_PERIPH_GPIOC);
        LL_IOP_GRP1_EnableClock(LL_IOP_GRP1_PERIPH_GPIOH);
#endif
        uint32_t counter_after_sleep = app_rtc_get_counter();
        uint32_t diff = counter_after_sleep-counter_before_sleep;
        uwTick += diff*1000;
        DEBUG_VERBOSE("Afer sleep - counter %u, diff %u\r\n", counter_after_sleep, diff);

//        ctx->status.sleep_time_s += diff;
        HAL_RTCEx_DeactivateWakeUpTimer(&hrtc);
        m_wakeup_timer_run = false;
        DEBUG_VERBOSE("Wake\r\n");

        /* Enable SysTick Interrupt */
        SysTick->CTRL  |= SysTick_CTRL_TICKINT_Msk;

        SystemClock_Config();
#ifdef WDT_ENABLE
        LL_IWDG_ReloadCounter(IWDG);
#endif
    }
    else
    {
//        DEBUG_PRINTF("RTC timer still running\r\n");
    }
}

void HAL_RTCEx_WakeUpTimerEventCallback(RTC_HandleTypeDef *hrtc)
{
    m_wakeup_timer_run = false;
//    DEBUG_VERBOSE("Wakeup timer event callback\r\n");
    __HAL_PWR_CLEAR_FLAG(PWR_FLAG_WU);
}

void sys_enable_power_plug_detect(void)
{
    LL_GPIO_SetPinPull(ADC_24V_GPIO_Port, ADC_24V_Pin, LL_GPIO_PULL_NO);
    LL_GPIO_SetPinMode(ADC_24V_GPIO_Port, ADC_24V_Pin, LL_GPIO_MODE_INPUT);
    LL_EXTI_InitTypeDef EXTI_InitStruct = {0};

    EXTI_InitStruct.Line_0_31 = LL_EXTI_LINE_6;
    EXTI_InitStruct.LineCommand = ENABLE;
    EXTI_InitStruct.Mode = LL_EXTI_MODE_IT;
    EXTI_InitStruct.Trigger = LL_EXTI_TRIGGER_RISING_FALLING;
    LL_EXTI_Init(&EXTI_InitStruct);

    NVIC_SetPriority(EXTI4_15_IRQn, 0);
    NVIC_EnableIRQ(EXTI4_15_IRQn);
}

void sys_disable_power_plug_config(void)
{
    LL_EXTI_DisableIT_0_31(LL_EXTI_LINE_6);
    NVIC_DisableIRQ(EXTI4_15_IRQn);
}

/* USER CODE END 4 */

void Error_Handler(void)
{
  /* USER CODE BEGIN Error_Handler_Debug */
    DEBUG_ERROR("Error handle\r\n");
    NVIC_SystemReset();
  while (1)
  {
  }
  /* USER CODE END Error_Handler_Debug */
}

#ifdef  USE_FULL_ASSERT
/**
  * @brief  Reports the name of the source file and the source line number
  *         where the assert_param error has occurred.
  * @param  file: pointer to the source file name
  * @param  line: assert_param error line source number
  * @retval None
  */
void assert_failed(uint8_t *file, uint32_t line)
{
  /* USER CODE BEGIN 6 */
  /* User can add his own implementation to report the file name and line number,
     ex: printf("Wrong parameters value: file %s on line %d\r\n", file, line) */
	DEBUG_ERROR("Assert failed %s, line %u\r\n", file, line);
    NVIC_SystemReset();
	while (1);
  /* USER CODE END 6 */
}
#endif /* USE_FULL_ASSERT */

/************************ (C) COPYRIGHT STMicroelectronics *****END OF FILE****/
